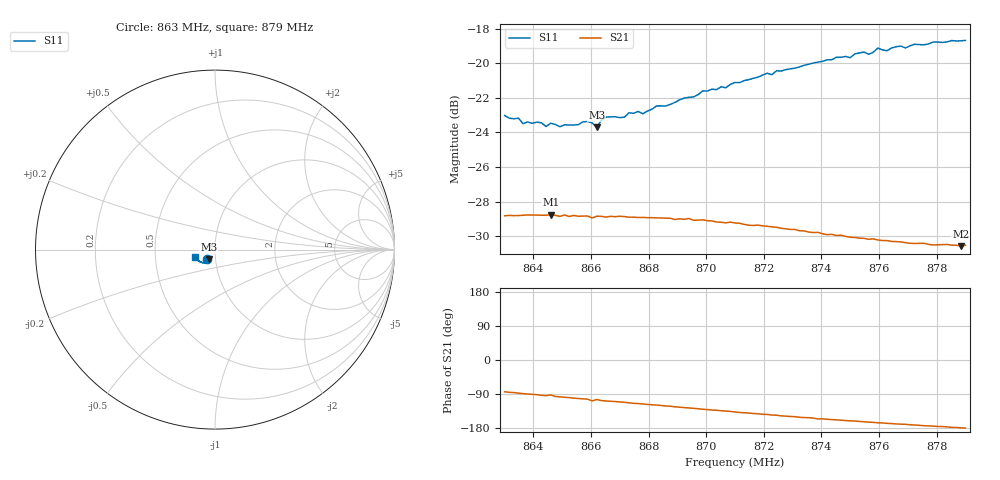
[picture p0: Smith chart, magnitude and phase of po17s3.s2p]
# HZ S RI R 50
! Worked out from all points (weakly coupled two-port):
!   101 points, 863 MHz to 879 MHz, reference 50 ohm
!   highest |S21| = -28.75 dB at 864.6 MHz (marker M1); lowest = -30.6 dB at 878.84 MHz (marker M2)
!   lowest |S11| = -23.7 dB at 866.2 MHz (marker M3), VSWR 1.14, Z = 46.3 - j5.11 ohm
!   |S11| at or under -10 dB: start of sweep to end of sweep
!   S12 and S22 are empty: the file has one direction only
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8.63e8  -0.0447 -0.0546  0.00382 -0.036  0 0  0 0
8.6348e8  -0.0432 -0.0543  0.00158 -0.0363  0 0  0 0
8.6364e8  -0.0407 -0.053  0.000864 -0.0364  0 0  0 0
8.6412e8  -0.0404 -0.0542  -0.000974 -0.0364  0 0  0 0
8.6444e8  -0.0376 -0.0538  -0.00259 -0.0363  0 0  0 0
8.646e8  -0.038 -0.0553  -0.0014 -0.0365  0 0  0 0
8.6492e8  -0.037 -0.0541  -0.00457 -0.0358  0 0  0 0
8.6572e8  -0.0353 -0.0577  -0.0078 -0.0353  0 0  0 0
8.6604e8  -0.0349 -0.0574  -0.0109 -0.034  0 0  0 0
8.662e8  -0.0353 -0.0549  -0.00898 -0.035  0 0  0 0
8.6652e8  -0.0353 -0.0603  -0.0112 -0.0342  0 0  0 0
8.6716e8  -0.0351 -0.0604  -0.0133 -0.0335  0 0  0 0
8.6764e8  -0.0357 -0.0631  -0.0151 -0.0325  0 0  0 0
8.678e8  -0.0354 -0.062  -0.0157 -0.0322  0 0  0 0
8.6844e8  -0.0369 -0.0656  -0.018 -0.0309  0 0  0 0
8.71e8  -0.0492 -0.0729  -0.0253 -0.0235  0 0  0 0
8.7372e8  -0.0676 -0.0738  -0.029 -0.0146  0 0  0 0
8.7564e8  -0.0822 -0.0671  -0.0298 -0.00858  0 0  0 0
8.7596e8  -0.0893 -0.0652  -0.0299 -0.0076  0 0  0 0
8.7644e8  -0.0914 -0.0624  -0.0299 -0.00644  0 0  0 0
8.7884e8  -0.1084 -0.0414  -0.0296 -0.000602  0 0  0 0
8.79e8  -0.1094 -0.0396  -0.0298 -0.00018  0 0  0 0
